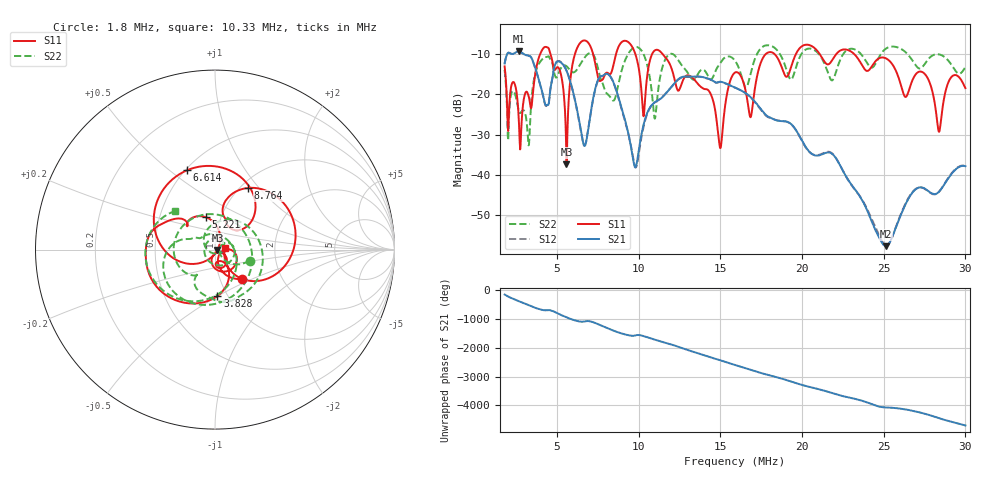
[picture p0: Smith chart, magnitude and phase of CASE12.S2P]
!Agilent Technologies,E5061B,MY49101568,A.02.00
!Date: Wed Mar 01 15:31:21 2023
!Data & Calibration Information:
!Freq	S11:SOLT2(OFF)	S21:SOLT2(OFF)	S12:SOLT2(OFF)	S22:SOLT2(OFF)
# Hz S dB R 50
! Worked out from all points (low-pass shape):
!   1155 points, 1.8 MHz to 30 MHz, reference 50 ohm
!   highest |S21| = -9.25 dB at 2.655 MHz (marker M1); lowest = -57.8 dB at 25.16 MHz (marker M2)
!   |S21| within 3 dB of the highest: 1.803 MHz to 3.577 MHz (1.774 MHz wide, 66 % of centre); 4.929 MHz to 5.305 MHz (375.7 kHz wide, 7.34 % of centre)
!   lowest |S11| = -37.4 dB at 5.588 MHz (marker M3), VSWR 1.03, Z = 51.4 - j0.159 ohm
!   |S11| at or under -10 dB: start of sweep to 3.97 MHz; 11.48 MHz to 17.77 MHz (6.283 MHz wide, 43 % of centre); 23.21 MHz to end of sweep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
!   |S22| runs from -32.7 to -7.7 dB; largest |S21 - S12| = 0.0048
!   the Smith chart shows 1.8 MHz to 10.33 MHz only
!   S11 on the Smith chart (normalised r, x): 1.8 MHz: 1.27, -0.44; 3.828 MHz: 0.90, -0.50; 5.221 MHz: 0.85, +0.32; 6.614 MHz: 0.51, +0.58; 8.764 MHz: 1.08, +0.88; 10.33 MHz: 1.12, +0.02
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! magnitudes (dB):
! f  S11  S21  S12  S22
! 1.8 MHz  -13.0  -12.3  -12.3  -13.9
! 2.655 MHz  -25.3  -9.2  -9.2  -23.9
! 3.266 MHz  -20.4  -10.4  -10.4  -32.7
! 3.828 MHz  -11.7  -15.4  -15.5  -12.9
! 5.221 MHz  -14.6  -11.9  -11.8  -13.6
! 5.588 MHz  -37.4  -14.1  -14.1  -13.0
! 6.516 MHz  -6.8  -30.1  -30.4  -11.9
! 6.614 MHz  -6.6  -32.1  -32.2  -11.3
! 7.616 MHz  -16.6  -15.7  -15.8  -15.3
! 8.764 MHz  -8.2  -20.6  -20.9  -17.4
! 9.766 MHz  -9.5  -38.0  -37.7  -8.2
! 10.33 MHz  -25.0  -27.1  -27.6  -10.2
! 11.21 MHz  -9.0  -21.4  -21.4  -18.6
! 15 MHz  -33.4  -16.8  -16.9  -12.2
! 15.9 MHz  -14.6  -18.3  -18.3  -11.6
! 16.85 MHz  -25.7  -20.7  -20.7  -14.8
! 17.76 MHz  -10.0  -25.0  -25.2  -7.8
! 20.62 MHz  -8.0  -34.9  -34.9  -8.7
! 25.16 MHz  -11.1  -57.8  -57.6  -8.5
! 25.31 MHz  -11.5  -57.2  -57.2  -8.2
! 28.39 MHz  -29.3  -44.2  -44.2  -10.0
! 30 MHz  -18.4  -37.9  -37.8  -13.2
